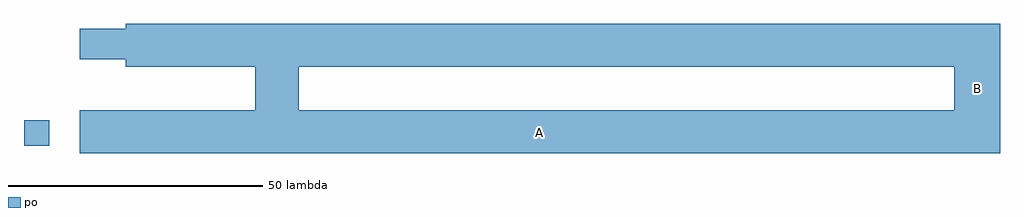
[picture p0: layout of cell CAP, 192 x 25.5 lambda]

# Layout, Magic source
magic
tech tech
magscale 1 2
<< po >>
rect 9 28 267 40
rect 150 29 160 39
rect 124 29 134 39
rect 9 63 267 75
rect 150 64 160 74
rect 124 64 134 74
rect 9 26 335 43
rect 167 29 177 39
rect 141 29 151 39
rect 9 60 335 77
rect 167 64 177 74
rect 141 64 151 74
rect -9 26 43 43
rect -5 29 5 39
rect -31 29 -21 39
rect 43 26 77 43
rect 43 26 60 43
rect 95 26 318 43
rect 318 26 353 43
rect 318 26 335 43
rect 60 43 77 60
rect 335 43 353 60
rect 335 43 353 60
rect 26 60 267 77
rect 284 60 353 77
rect 322 64 332 74
rect 296 64 306 74
rect -9 28 353 40
rect -9 28 353 40
rect -9 63 353 75
<< labels >>
flabel po s 335 43 353 60 0 FreeSans 400 0 0 0 B
port 1 nsew signal bidirectional
flabel po s -9 28 353 40 0 FreeSans 400 0 0 0 A
port 2 nsew signal bidirectional
<< properties >>
string FIXED_BBOX 0 0 344 69
<< end >>
